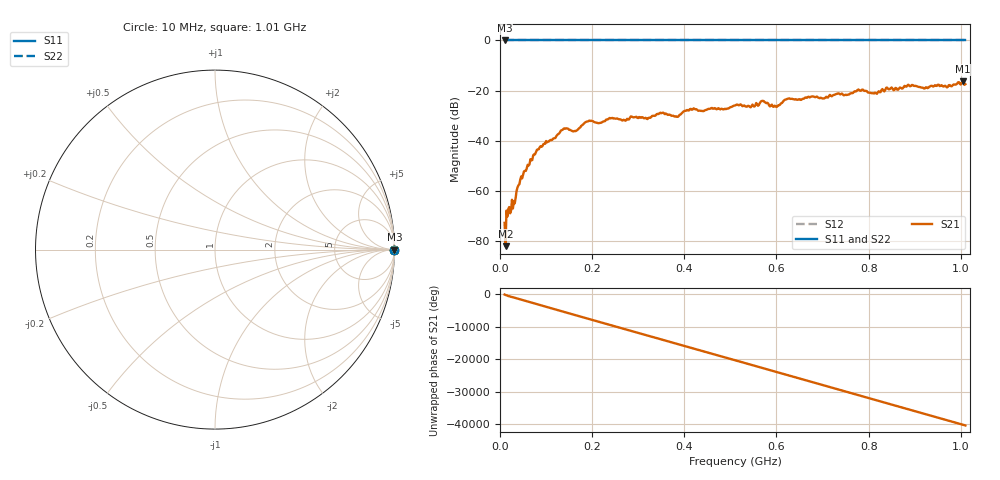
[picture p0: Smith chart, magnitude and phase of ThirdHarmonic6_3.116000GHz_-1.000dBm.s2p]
! 8/17/2025 9:14:09 AM
! C:\ANRITSUVNA\TEMP\TEMP.S2P
! CHANNEL.1
! TR.MEASUREMENT
! RAW.DATA
! RF.CORRECTION.OFF
! AVERAGING.OFF
! IF.BANDWIDTH: 5KHZ
! SWEEPTYPE:  FREQ.SWEEP(Linear)
! Reference Plane Port Info
! PORT:  PORT1  PORT2
! DISTANCE:  0  m  0  m
! TIME:  0  s  0  s
! PHASE.OFFSET:  0  deg.  0  deg.
! LOSS:  0  dB  0  dB
! REF.LOSS:  0  dB  0  dB
! REF.FREQ:  0  Hz  0  Hz
! Power Info
! POWER:  -20  dBm  -20  dBm
! EFF.POWER:  -20  dBm  -20  dBm
! SOURCE.ATTEN:  0  dB  0  dB
! TEST.ATTEN:  0  dB  0  dB
# GHZ S RI R 50.0
! FREQ.GHZ  S11RE  S11IM  S21RE  S21IM  S12RE  S12IM  S22RE  S22IM
!; PortSelection: Port_12
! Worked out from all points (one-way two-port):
!   501 points, 10 MHz to 1.01 GHz, reference 50 ohm
!   highest |S21| = -16.32 dB at 1.004 GHz (marker M1); lowest = -82.1 dB at 12 MHz (marker M2)
!   lowest |S11| = 0.0 dB at 10 MHz (marker M3)
!   |S11| at or under -10 dB: nowhere
!   |S22| runs from 0.0 to 0.0 dB; largest |S21 - S12| = 1.1
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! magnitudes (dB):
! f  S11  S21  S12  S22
! 10 MHz  0.0  -72.8  0.0  0.0
! 12 MHz  0.0  -82.1  0.0  0.0
! 18 MHz  0.0  -67.3  0.0  0.0
! 32 MHz  0.0  -65.0  0.0  0.0
! 48 MHz  0.0  -55.0  0.0  0.0
! 82 MHz  0.0  -43.5  0.0  0.0
! 136 MHz  0.0  -35.6  0.0  0.0
! 162 MHz  0.0  -36.1  0.0  0.0
! 178 MHz  0.0  -33.9  0.0  0.0
! 344 MHz  0.0  -29.4  0.0  0.0
! 384 MHz  0.0  -30.5  0.0  0.0
! 416 MHz  0.0  -27.6  0.0  0.0
! 510 MHz  0.0  -25.9  0.0  0.0
! 548 MHz  0.0  -25.6  0.0  0.0
! 570 MHz  0.0  -24.1  0.0  0.0
! 598 MHz  0.0  -26.3  0.0  0.0
! 624 MHz  0.0  -23.3  0.0  0.0
! 678 MHz  0.0  -22.3  0.0  0.0
! 814 MHz  0.0  -20.9  0.0  0.0
! 844 MHz  0.0  -19.5  0.0  0.0
! 1.004 GHz  0.0  -16.3  0.0  0.0
! 1.01 GHz  0.0  -17.4  0.0  0.0
